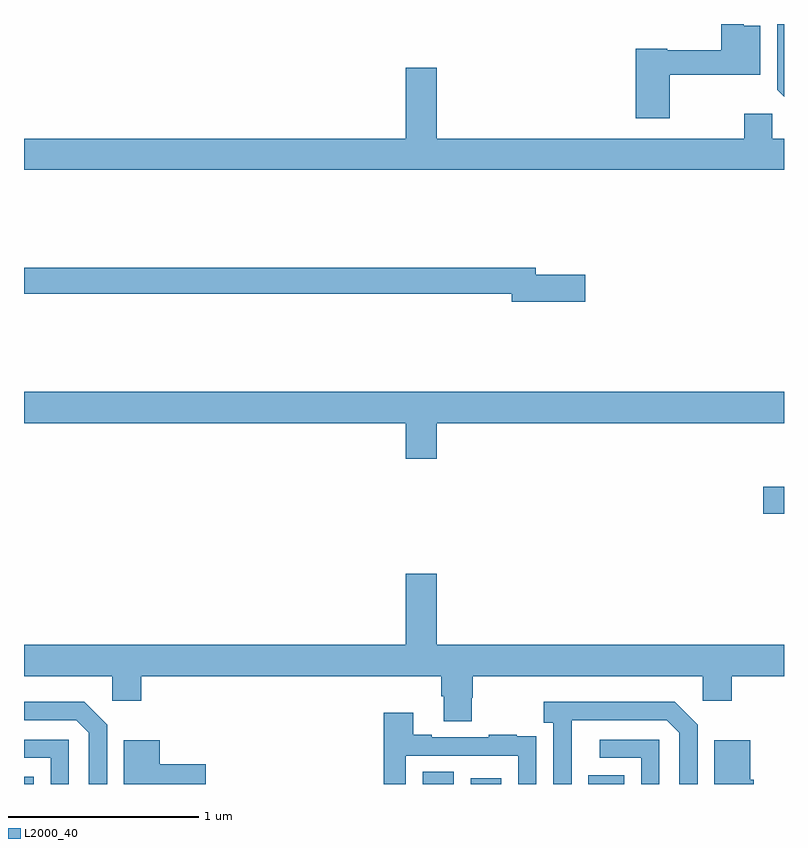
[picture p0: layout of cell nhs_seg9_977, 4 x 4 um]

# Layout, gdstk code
import gdstk
lib = gdstk.Library(unit=1e-6, precision=1e-09)
def R(c, l, rs):  # rectangles x0, y0, x1, y1
    for r in rs: c.add(gdstk.rectangle(r[:2], r[2:], *l))
def P(c, l, *ps):  # polygons
    for p in ps: c.add(gdstk.Polygon(p, *l))
L2000_40 = (2000, 40)

nhs_seg9_977 = lib.new_cell('nhs_seg9_977')
R(nhs_seg9_977, L2000_40, [(163,1214.5,163.051,1214.539), (165.098,1214.5,165.262,1214.564), (165.35,1214.5,165.511,1214.53), (165.971,1214.5,166.159,1214.545), (166.89,1215.923,167,1216.065)])
P(nhs_seg9_977, L2000_40, [(167,1218.5),(166.965,1218.5),(166.965,1218.153),(167,1218.118)],
  [(166.398,1218.234),(166.876,1218.234),(166.876,1218.49),(166.787,1218.49),(166.787,1218.5),(166.669,1218.5),(166.669,1218.362),(166.386,1218.362),(166.386,1218.37),(166.22,1218.37),(166.22,1218.003),(166.398,1218.003)],
  [(167,1217.896),(166.938,1217.896),(166.938,1218.028),(166.792,1218.028),(166.792,1217.896),(165.172,1217.896),(165.172,1218.271),(165.008,1218.271),(165.008,1217.896),(163,1217.896),(163,1217.732),(167,1217.732)],
  [(165.955,1217.18),(165.694,1217.18),(165.694,1217.216),(163,1217.216),(163,1217.08),(165.566,1217.08),(165.566,1217.038),(165.955,1217.038)],
  [(165.172,1216.4),(167,1216.4),(167,1216.564),(163,1216.564),(163,1216.4),(165.008,1216.4),(165.008,1216.212),(165.172,1216.212)],
  [(165.357,1214.955),(165.362,1214.955),(165.362,1215.068),(166.572,1215.068),(166.572,1214.937),(166.724,1214.937),(166.724,1215.068),(167,1215.068),(167,1215.232),(165.172,1215.232),(165.172,1215.607),(165.008,1215.607),(165.008,1215.232),(163,1215.232),(163,1215.068),(163.464,1215.068),(163.464,1214.937),(163.616,1214.937),(163.616,1215.068),(165.197,1215.068),(165.197,1214.962),(165.209,1214.962),(165.209,1214.83),(165.357,1214.83)],
  [(165.882,1214.835),(166.383,1214.835),(166.449,1214.769),(166.449,1214.5),(166.545,1214.5),(166.545,1214.811),(166.424,1214.932),(165.735,1214.932),(165.735,1214.822),(165.786,1214.822),(165.786,1214.5),(165.882,1214.5)],
  [(163.437,1214.811),(163.316,1214.932),(163,1214.932),(163,1214.835),(163.275,1214.835),(163.341,1214.769),(163.341,1214.5),(163.437,1214.5)],
  [(165.009,1214.649),(165.6,1214.649),(165.6,1214.5),(165.696,1214.5),(165.696,1214.642),(165.695,1214.642),(165.695,1214.751),(165.593,1214.751),(165.593,1214.758),(165.445,1214.758),(165.445,1214.745),(165.145,1214.745),(165.145,1214.758),(165.049,1214.758),(165.049,1214.875),(164.893,1214.875),(164.893,1214.5),(165.009,1214.5)],
  [(166.344,1214.733),(166.029,1214.733),(166.029,1214.637),(166.248,1214.637),(166.248,1214.5),(166.344,1214.5)],
  [(163.236,1214.733),(163,1214.733),(163,1214.637),(163.14,1214.637),(163.14,1214.5),(163.236,1214.5)],
  [(163.957,1214.604),(163.714,1214.604),(163.714,1214.731),(163.526,1214.731),(163.526,1214.5),(163.957,1214.5)],
  [(166.841,1214.523),(166.822,1214.523),(166.822,1214.731),(166.634,1214.731),(166.634,1214.5),(166.841,1214.5)])

lib.write_gds('nhs_seg9_977.gds')
